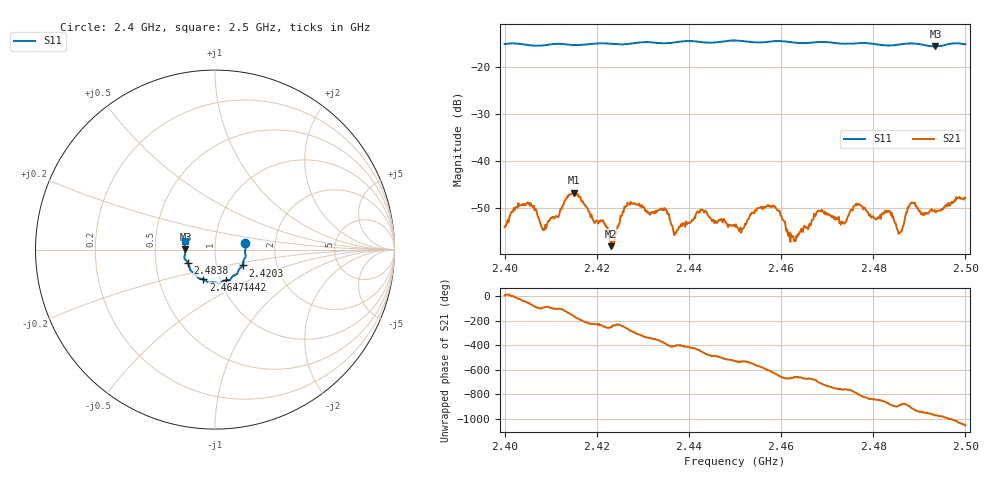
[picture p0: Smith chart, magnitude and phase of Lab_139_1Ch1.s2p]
# Hz S RI R 50
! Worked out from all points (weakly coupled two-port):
!   601 points, 2.4 GHz to 2.5 GHz, reference 50 ohm
!   highest |S21| = -46.81 dB at 2.415 GHz (marker M1); lowest = -58.2 dB at 2.4232 GHz (marker M2)
!   lowest |S11| = -15.7 dB at 2.4935 GHz (marker M3), VSWR 1.39, Z = 35.9 + j0.109 ohm
!   |S11| at or under -10 dB: start of sweep to end of sweep
!   S12 and S22 are empty: the file has one direction only
!   S11 on the Smith chart (normalised r, x): 2.4 GHz: 1.40, +0.11; 2.4203 GHz: 1.34, -0.24; 2.4442 GHz: 1.06, -0.37; 2.4647 GHz: 0.83, -0.29; 2.4838 GHz: 0.73, -0.11; 2.5 GHz: 0.71, +0.07
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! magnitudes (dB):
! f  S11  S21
! 2.4 GHz  -15.2  -54.2
! 2.4052 GHz  -15.4  -49.2
! 2.4087 GHz  -15.4  -54.8
! 2.415 GHz  -15.4  -46.8
! 2.4167 GHz  -15.3  -48.7
! 2.4203 GHz  -15.0  -53.4
! 2.4232 GHz  -15.1  -58.2
! 2.4268 GHz  -15.1  -49.2
! 2.4333 GHz  -14.9  -50.6
! 2.4372 GHz  -14.8  -55.5
! 2.4442 GHz  -14.9  -51.6
! 2.45 GHz  -14.4  -54.1
! 2.4573 GHz  -14.7  -49.7
! 2.4625 GHz  -14.8  -56.3
! 2.4647 GHz  -15.0  -55.2
! 2.4667 GHz  -14.9  -52.6
! 2.4833 GHz  -15.5  -50.7
! 2.4838 GHz  -15.5  -51.6
! 2.4857 GHz  -15.2  -55.3
! 2.4883 GHz  -15.0  -48.9
! 2.4935 GHz  -15.7  -51.0
! 2.5 GHz  -15.2  -47.9
